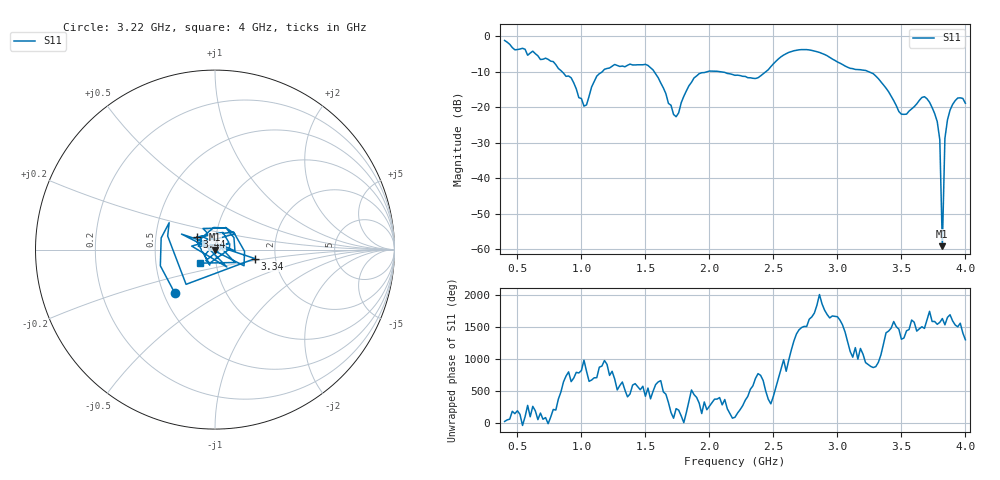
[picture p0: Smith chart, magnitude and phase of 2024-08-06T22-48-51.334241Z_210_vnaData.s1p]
!Created with skrf (http://scikit-rf.org).
# Hz S RI R 50.0
!freq ReS11 ImS11
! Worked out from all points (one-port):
!   181 points, 400 MHz to 4 GHz, reference 50 ohm
!   lowest |S11| = -59.1 dB at 3.82 GHz (marker M1), VSWR 1.00, Z = 49.9 - j0.0226 ohm
!   |S11| at or under -10 dB: 1.569 GHz to 1.986 GHz (417 MHz wide, 23.5 % of centre); 2.079 GHz to 2.442 GHz (363 MHz wide, 16.1 % of centre); 3.243 GHz to end of sweep (the widest 3 of 4)
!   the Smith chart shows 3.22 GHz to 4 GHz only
!   S11 on the Smith chart (normalised r, x): 3.22 GHz: 0.57, -0.31; 3.34 GHz: 1.56, -0.16; 3.44 GHz: 0.81, +0.11; 4 GHz: 0.83, -0.13
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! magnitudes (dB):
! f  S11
! 400 MHz  -1.2
! 860 MHz  -10.4
! 920 MHz  -11.7
! 1.02 GHz  -19.7
! 1.12 GHz  -11.3
! 1.3 GHz  -8.5
! 1.52 GHz  -8.3
! 1.72 GHz  -22.0
! 1.76 GHz  -21.6
! 1.84 GHz  -14.0
! 1.92 GHz  -10.6
! 2.2 GHz  -11.0
! 2.38 GHz  -11.7
! 2.66 GHz  -4.1
! 3.1 GHz  -9.1
! 3.22 GHz  -9.7
! 3.34 GHz  -12.8
! 3.44 GHz  -18.2
! 3.5 GHz  -22.0
! 3.56 GHz  -21.1
! 3.68 GHz  -17.1
! 3.78 GHz  -24.1
! 3.8 GHz  -29.1
! 3.82 GHz  -59.1
! 3.84 GHz  -28.8
! 3.86 GHz  -23.6
! 3.94 GHz  -17.4
! 4 GHz  -18.9
